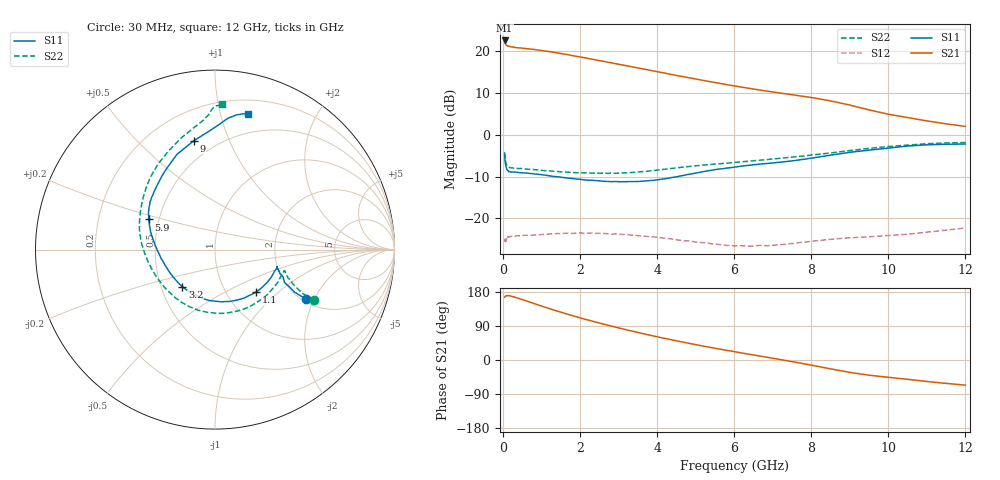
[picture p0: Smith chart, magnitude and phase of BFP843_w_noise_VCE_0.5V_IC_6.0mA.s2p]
! Infineon Technologies  Discrete & RF Semiconductors
! BFP843
! VCE =  0.5 V,  IC =  6.0 mA
! Common Emitter S-Parameters:  Aug 2013
# GHz  S  MA  R  50
!  f  S11  S21  S12  S22
! GHz  MAG  ANG  MAG  ANG  MAG  ANG  MAG  ANG
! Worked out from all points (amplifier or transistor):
!   103 points, 30 MHz to 12 GHz, reference 50 ohm
!   highest |S21| = 22.6 dB at 30 MHz (marker M1)
!   |S21| within 3 dB of that: start of sweep to 1.409 GHz
!   unconditionally stable (mu >= 1): 178.5 MHz to 495.2 MHz; 2.646 GHz to 11.95 GHz
!   at 400 MHz: K = 1.01, MAG = 22.1 dB, |S12| = -24.2 dB
!   at 3.7 GHz: K = 1.16, MAG = 17.6 dB, |S12| = -24.3 dB
!   at 12 GHz: K = 0.99, MSG = 12.2 dB, |S12| = -22.3 dB
!   lowest NFmin = 0.92 dB at 450 MHz
!   S11 on the Smith chart (normalised r, x): 30 MHz: 2.09, -1.73; 1.1 GHz: 1.37, -0.73; 3.2 GHz: 0.64, -0.29; 5.9 GHz: 0.44, +0.18; 9 GHz: 0.38, +0.75; 12 GHz: 0.32, +1.22
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0.03  0.5779 -28.6  13.54 165.9  0.0529 32.3  0.6203 -26.8
0.04  0.5021 -28.1  12.84 166.5  0.0559 25.5  0.5459 -26.6
0.05  0.4589 -26.4  12.42 168.5  0.0525 19.0  0.5021 -25.1
0.07  0.4095 -21.9  11.89 169.4  0.0534 15.0  0.4536 -21.8
0.13  0.3685 -17.4  11.58 170.0  0.0604 8.6  0.4093 -17.8
0.7  0.3446 -30.7  10.67 152.2  0.0625 0.8  0.3863 -37.0
1.1  0.3287 -46.1  10.08 138.7  0.0642 -0.8  0.3724 -56.3
1.3  0.3177 -54.3  9.771 132.1  0.0652 -2.4  0.3668 -65.8
1.6  0.3065 -66.5  9.267 122.8  0.0663 -4.2  0.36 -79.7
2.1  0.289 -87.3  8.406 108.1  0.0658 -7.6  0.3502 -101.8
2.7  0.2768 -111.6  7.442 92.1  0.0654 -12.6  0.3464 -126.0
3.2  0.2751 -131.4  6.731 79.6  0.0642 -15.9  0.3518 -144.5
3.6  0.2785 -146.8  6.204 70.1  0.0616 -19.0  0.3627 -158.0
4.1  0.2938 -164.6  5.594 58.9  0.0585 -21.4  0.3835 -172.5
4.9  0.3419 173.0  4.76 42.4  0.0529 -22.6  0.4209 170.4
5.9  0.4046 155.5  3.931 23.8  0.0475 -19.7  0.4629 154.1
6.1  0.4169 152.5  3.798 20.2  0.047 -17.9  0.4721 151.1
7.3  0.477 133.5  3.12 -0.8  0.0488 -10.0  0.5302 134.1
8.5  0.5719 111.7  2.552 -23.4  0.0561 -9.3  0.6076 115.2
9  0.6185 100.9  2.275 -32.6  0.0585 -10.5  0.6496 106.9
10.5  0.7356 84.4  1.612 -51.0  0.0645 -12.6  0.7538 92.6
12  0.7774 76.5  1.263 -66.4  0.0767 -17.4  0.8096 87.1
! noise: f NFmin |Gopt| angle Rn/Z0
0.45  0.92  0.15  7  0
0.9  0.93  0.15  17  0.03
1.5  0.96  0.15  27  0.1
1.9  0.99  0.13  40  0.18
2.4  1.03  0.11  49  0.25
3.5  1.1  0.09  63  0.29
5.5  1.25  0.14  -148  0.37
10  1.97  0.51  -72  0.43
